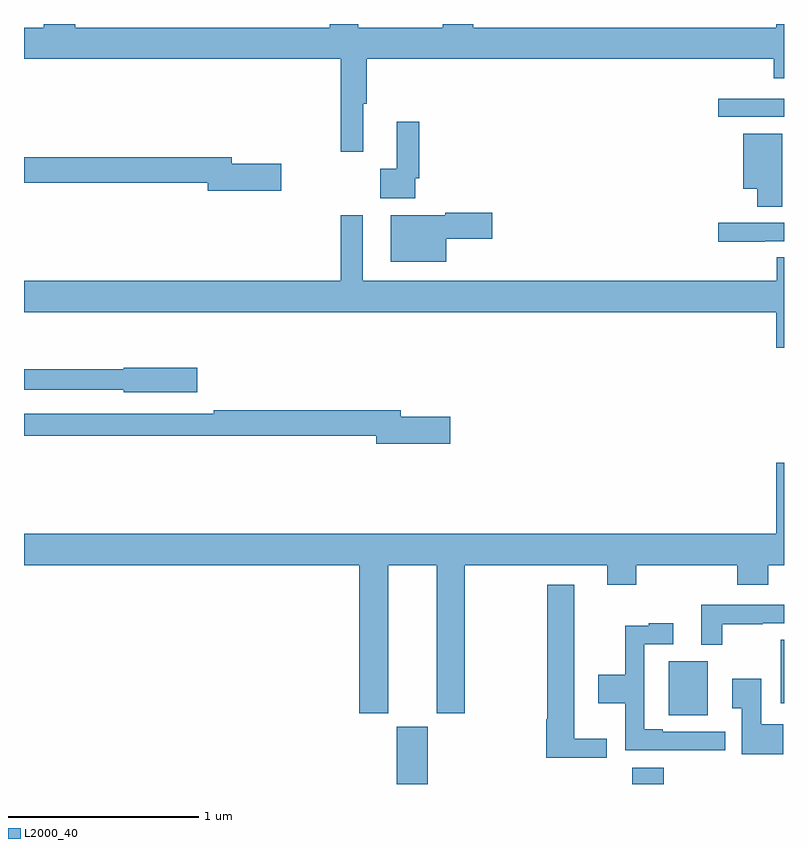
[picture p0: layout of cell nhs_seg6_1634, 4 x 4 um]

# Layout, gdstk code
import gdstk
lib = gdstk.Library(unit=1e-6, precision=1e-09)
def R(c, l, rs):  # rectangles x0, y0, x1, y1
    for r in rs: c.add(gdstk.rectangle(r[:2], r[2:], *l))
def P(c, l, *ps):  # polygons
    for p in ps: c.add(gdstk.Polygon(p, *l))
L2000_40 = (2000, 40)

nhs_seg6_1634 = lib.new_cell('nhs_seg6_1634')
R(nhs_seg6_1634, L2000_40, [(210.962,963.5,211.126,963.801), (212.201,963.5,212.366,963.586), (212.393,963.863,212.599,964.147), (212.984,963.926,213,964.258), (212.655,967.011,213,967.107)])
P(nhs_seg6_1634, L2000_40, [(210.785,967.08),(210.803,967.08),(210.803,967.316),(212.945,967.316),(212.945,967.214),(213,967.214),(213,967.5),(212.96,967.5),(212.96,967.48),(211.364,967.48),(211.364,967.5),(211.204,967.5),(211.204,967.48),(210.759,967.48),(210.759,967.5),(210.608,967.5),(210.608,967.48),(209.269,967.48),(209.269,967.5),(209.105,967.5),(209.105,967.48),(209,967.48),(209,967.316),(210.667,967.316),(210.667,966.828),(210.785,966.828)],
  [(211.059,966.688),(211.079,966.688),(211.079,966.985),(210.962,966.985),(210.962,966.737),(210.876,966.737),(210.876,966.584),(211.059,966.584)],
  [(212.992,966.922),(212.786,966.922),(212.786,966.632),(212.858,966.632),(212.858,966.538),(212.992,966.538)],
  [(210.355,966.764),(210.094,966.764),(210.094,966.8),(209,966.8),(209,966.664),(209.966,966.664),(209.966,966.622),(210.355,966.622)],
  [(211.222,966.371),(211.465,966.371),(211.465,966.506),(211.218,966.506),(211.218,966.493),(210.929,966.493),(210.929,966.248),(211.222,966.248)],
  [(213,966.272),(212.963,966.272),(212.963,966.148),(210.784,966.148),(210.784,966.493),(210.667,966.493),(210.667,966.148),(209,966.148),(209,965.984),(212.96,965.984),(212.96,965.796),(213,965.796)],
  [(212.899,966.357),(213,966.357),(213,966.453),(212.655,966.453),(212.655,966.353),(212.899,966.353)],
  [(209.911,965.691),(209.526,965.691),(209.526,965.683),(209,965.683),(209,965.574),(209.526,965.574),(209.526,965.561),(209.911,965.561)],
  [(211.243,965.432),(210.982,965.432),(210.982,965.468),(209.998,965.468),(209.998,965.448),(209,965.448),(209,965.332),(210.854,965.332),(210.854,965.29),(211.243,965.29)],
  [(210.916,964.652),(211.172,964.652),(211.172,963.873),(211.32,963.873),(211.32,964.652),(212.069,964.652),(212.069,964.55),(212.222,964.55),(212.222,964.652),(212.753,964.652),(212.753,964.55),(212.918,964.55),(212.918,964.652),(213,964.652),(213,965.191),(212.96,965.191),(212.96,964.816),(209,964.816),(209,964.652),(210.764,964.652),(210.764,963.873),(210.916,963.873)],
  [(212.068,963.737),(211.897,963.737),(211.897,964.549),(211.753,964.549),(211.753,963.842),(211.748,963.842),(211.748,963.638),(212.068,963.638)],
  [(212.674,964.342),(212.888,964.342),(212.888,964.347),(213,964.347),(213,964.443),(212.564,964.443),(212.564,964.232),(212.674,964.232)],
  [(212.692,963.774),(212.362,963.774),(212.362,963.787),(212.265,963.787),(212.265,964.236),(212.416,964.236),(212.416,964.345),(212.288,964.345),(212.288,964.334),(212.164,964.334),(212.164,964.074),(212.022,964.074),(212.022,963.926),(212.164,963.926),(212.164,963.678),(212.449,963.678),(212.449,963.677),(212.692,963.677)],
  [(212.996,963.814),(212.881,963.814),(212.881,964.054),(212.727,964.054),(212.727,963.898),(212.777,963.898),(212.777,963.656),(212.996,963.656)])

lib.write_gds('nhs_seg6_1634.gds')
